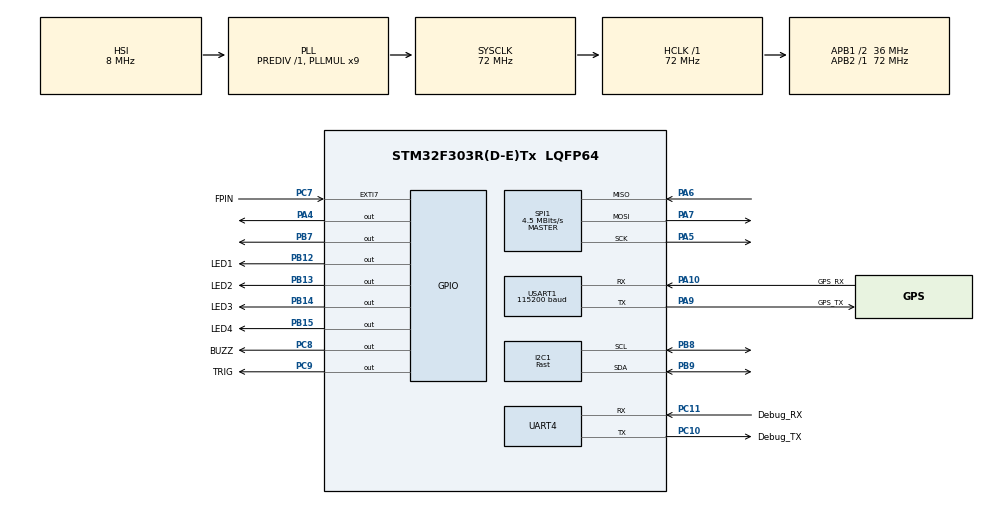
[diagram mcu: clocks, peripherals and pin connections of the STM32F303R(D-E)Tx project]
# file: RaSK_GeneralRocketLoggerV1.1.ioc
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I2C1.I2C_Speed_Mode=I2C_Fast
I2C1.Timing=0x0000020B
Mcu.Family=STM32F3
Mcu.Name=STM32F303R(D-E)Tx
Mcu.Package=LQFP64
NVIC.EXTI9_5_IRQn=true\:0\:0\:false\:false\:true\:true
NVIC.PriorityGroup=NVIC_PRIORITYGROUP_4
NVIC.TIM1_UP_TIM16_IRQn=true\:0\:0\:false\:true\:true\:1\:true
PA10.GPIO_Label=GPS_RX
PA10.Mode=Asynchronous
PA10.Signal=USART1_RX
PA4.Signal=GPIO_Output
PA5.Mode=Full_Duplex_Master
PA5.Signal=SPI1_SCK
PA6.Mode=Full_Duplex_Master
PA6.Signal=SPI1_MISO
PA7.Mode=Full_Duplex_Master
PA7.Signal=SPI1_MOSI
PA9.GPIO_Label=GPS_TX
PA9.Mode=Asynchronous
PA9.Signal=USART1_TX
PB12.GPIO_Label=LED1
PB12.Signal=GPIO_Output
PB13.GPIO_Label=LED2
PB13.Signal=GPIO_Output
PB14.GPIO_Label=LED3
PB14.Signal=GPIO_Output
PB15.GPIO_Label=LED4
PB15.Signal=GPIO_Output
PB3.Signal=USART2_TX
PB4.Signal=USART2_RX
PB7.Signal=GPIO_Output
PB8.Mode=I2C
PB8.Signal=I2C1_SCL
PB9.Mode=I2C
PB9.Signal=I2C1_SDA
PC10.GPIO_Label=Debug_TX
PC10.Mode=Asynchronous
PC10.Signal=UART4_TX
PC11.GPIO_Label=Debug_RX
PC11.Mode=Asynchronous
PC11.Signal=UART4_RX
PC7.GPIO_Label=FPIN
PC7.Signal=GPXTI7
PC8.GPIO_Label=BUZZ
PC8.Signal=GPIO_Output
PC9.GPIO_Label=TRIG
PC9.Signal=GPIO_Output
ProjectManager.HeapSize=0x200
ProjectManager.StackSize=0x400
ProjectManager.TargetToolchain=TrueSTUDIO
RCC.AHBFreq_Value=72000000
RCC.APB1CLKDivider=RCC_HCLK_DIV2
RCC.APB1Freq_Value=36000000
RCC.APB1TimFreq_Value=72000000
RCC.APB2Freq_Value=72000000
RCC.APB2TimFreq_Value=72000000
RCC.CortexFreq_Value=72000000
RCC.HCLKFreq_Value=72000000
RCC.HSE_VALUE=8000000
RCC.HSI_VALUE=8000000
RCC.LSE_Timout=1000
RCC.LSE_VALUE=32768
RCC.PLLMUL=RCC_PLL_MUL9
RCC.SYSCLKFreq_VALUE=72000000
RCC.SYSCLKSourceVirtual=RCC_SYSCLKSOURCE_PLLCLK
RCC.USBFreq_Value=72000000
SPI1.BaudRatePrescaler=SPI_BAUDRATEPRESCALER_16
SPI1.CalculateBaudRate=4.5 MBits/s
SPI1.Direction=SPI_DIRECTION_2LINES
SPI1.Mode=SPI_MODE_MASTER
SPI1.VirtualType=VM_MASTER
TIM16.Channel=TIM_CHANNEL_1
TIM16.OCMode_1=TIM_OCMODE_ACTIVE
TIM16.Period=1999
TIM16.Prescaler=35999
TIM16.Pulse=1999
TIM2.Period=4294967295
TIM2.Prescaler=71
TIM3.Period=19999
TIM3.Prescaler=72
USART1.BaudRate=115200
USART1.VirtualMode-Asynchronous=VM_ASYNC
USART1.WordLength=WORDLENGTH_8B
VP_FATFS_VS_Generic.Mode=User_defined
VP_RTC_VS_RTC_Activate.Mode=RTC_Enabled
VP_RTC_VS_RTC_Calendar.Mode=RTC_Calendar
VP_TIM16_VS_ClockSourceINT.Mode=Enable_Timer
VP_TIM16_VS_OPM.Mode=OPM_bit
VP_TIM16_VS_no_output1.Mode=Output Compare1 No Output
VP_TIM2_VS_ClockSourceINT.Mode=Internal
VP_TIM3_VS_ClockSourceINT.Mode=Internal
board=RaSK_GeneralRocketLoggerV1.1

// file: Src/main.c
/**
  ******************************************************************************
  * @file           : main.c
  * @brief          : Main program body
  ******************************************************************************
  * This notice applies to any and all portions of this file
  * that are not between comment pairs USER CODE BEGIN and
  * USER CODE END. Other portions of this file, whether
  * inserted by the user or by software development tools
  * are owned by their respective copyright owners.
  *
  * Copyright (c) 2018 STMicroelectronics International N.V.
  * All rights reserved.
  *
  * Redistribution and use in source and binary forms, with or without
  * modification, are permitted, provided that the following conditions are met:
  *
  * 1. Redistribution of source code must retain the above copyright notice,
  *    this list of conditions and the following disclaimer.
  * 2. Redistributions in binary form must reproduce the above copyright notice,
  *    this list of conditions and the following disclaimer in the documentation
  *    and/or other materials provided with the distribution.
  * 3. Neither the name of STMicroelectronics nor the names of other
  *    contributors to this software may be used to endorse or promote products
  *    derived from this software without specific written permission.
  * 4. This software, including modifications and/or derivative works of this
  *    software, must execute solely and exclusively on microcontroller or
  *    microprocessor devices manufactured by or for STMicroelectronics.
  * 5. Redistribution and use of this software other than as permitted under
  *    this license is void and will automatically terminate your rights under
  *    this license.
  *
  * THIS SOFTWARE IS PROVIDED BY STMICROELECTRONICS AND CONTRIBUTORS "AS IS"
  * AND ANY EXPRESS, IMPLIED OR STATUTORY WARRANTIES, INCLUDING, BUT NOT
  * LIMITED TO, THE IMPLIED WARRANTIES OF MERCHANTABILITY, FITNESS FOR A
  * PARTICULAR PURPOSE AND NON-INFRINGEMENT OF THIRD PARTY INTELLECTUAL PROPERTY
  * RIGHTS ARE DISCLAIMED TO THE FULLEST EXTENT PERMITTED BY LAW. IN NO EVENT
  * SHALL STMICROELECTRONICS OR CONTRIBUTORS BE LIABLE FOR ANY DIRECT, INDIRECT,
  * INCIDENTAL, SPECIAL, EXEMPLARY, OR CONSEQUENTIAL DAMAGES (INCLUDING, BUT NOT
  * LIMITED TO, PROCUREMENT OF SUBSTITUTE GOODS OR SERVICES; LOSS OF USE, DATA,
  * OR PROFITS; OR BUSINESS INTERRUPTION) HOWEVER CAUSED AND ON ANY THEORY OF
  * LIABILITY, WHETHER IN CONTRACT, STRICT LIABILITY, OR TORT (INCLUDING
  * NEGLIGENCE OR OTHERWISE) ARISING IN ANY WAY OUT OF THE USE OF THIS SOFTWARE,
  * EVEN IF ADVISED OF THE POSSIBILITY OF SUCH DAMAGE.
  *
  ******************************************************************************
  */
#include "main.h"
#include "stm32f3xx_hal.h"
#include "fatfs.h"

/* USER CODE BEGIN Includes */

#include <stdlib.h>
#include "leastsquare.h"
#include "../uart_wrapper/uart_wrapper.h"

#include "LPS22HB.h"
#include "../MPU9250/MPU9250.h"

/* USER CODE END Includes */

I2C_HandleTypeDef hi2c1;

RTC_HandleTypeDef hrtc;

SPI_HandleTypeDef hspi1;

TIM_HandleTypeDef htim2;
TIM_HandleTypeDef htim3;
TIM_HandleTypeDef htim16;

UART_HandleTypeDef huart4;
UART_HandleTypeDef huart1;

/* USER CODE BEGIN PV */
/* Private variables ---------------------------------------------------------*/
FATFS SDFatFs;
FIL file;
char SDPath[4];
LPS22HB_t lps22hb;
MPU9250_t mpu9250;
/* USER CODE END PV */

void SystemClock_Config(void);
static void MX_GPIO_Init(void);
static void MX_SPI1_Init(void);
static void MX_USART1_UART_Init(void);
static void MX_UART4_Init(void);
static void MX_I2C1_Init(void);
static void MX_TIM2_Init(void);
static void MX_TIM3_Init(void);
static void MX_TIM16_Init(void);
static void MX_RTC_Init(void);
static void MX_NVIC_Init(void);

/* USER CODE BEGIN PFP */
typedef enum {
	Rocket_NoStatus,
	Rocket_OnGround,
	Rocket_Launched,
	Rocket_Cutoff,
	Rocket_Falling,
	Rocket_Landed
} Rocket_Status_t;

typedef struct {
	Rocket_Status_t status;
	uint8_t d_pos;
	uint32_t d_num;
	uint32_t time[256];
	uint32_t pressraw[256];
	float press[256];
	float accel[256];
	float slope[256];

	//	temporary counter
	int counter;
}  Flight_Info_t;

/* Private function prototypes -----------------------------------------------*/
void Init_LoggerSystem(void);
void Config_OnePulseDelayTime(float delay);
void Config_Logdir(void);
int Check_Bootcount(void);
void Estimate_Status(Flight_Info_t* finfo);
void Trigger_ReleaseSystem(void);

char dir_syslog[20] = "SYSLOG.TXT";
char dir_datlog[20] = "DATLOG.CSV";

Flight_Info_t FlightInfo;

/* USER CODE END PFP */

int main(void)
{
  /* USER CODE BEGIN 1 */
  FIL file;     /* File object */
  char wbuff[256] = {}; /* File write buffer */
  FRESULT fres;
  uint32_t tmeasure_a, tmeasure_b;

#if UART_DEBUG
  char ubuff[256];
#endif

  //initialise_monitor_handles();

  /* USER CODE END 1 */

  /* MCU Configuration----------------------------------------------------------*/

  /* Reset of all peripherals, Initializes the Flash interface and the Systick. */
  HAL_Init();

  /* Configure the system clock */
  SystemClock_Config();

  /* Initialize all configured peripherals */
  MX_GPIO_Init();
  MX_SPI1_Init();
  MX_USART1_UART_Init();
  MX_UART4_Init();
  MX_I2C1_Init();
  MX_FATFS_Init();
  MX_TIM2_Init();
  MX_TIM3_Init();
  MX_TIM16_Init();
  MX_RTC_Init();

  /* Initialize interrupts */
  MX_NVIC_Init();
  /* USER CODE BEGIN 2 */
  Init_LoggerSystem();

  /* USER CODE END 2 */

  /* Infinite loop */
  while (1)
  {

  /* USER CODE BEGIN 3 */
	  HAL_GPIO_WritePin(GPIOB, GPIO_PIN_13, GPIO_PIN_SET);

	  tmeasure_a = TIM2->CNT;

	  fres = open_append(&file, dir_datlog);
	  if ( fres != FR_OK ) {
#if UART_DEBUG
		  xprintf("file open failure!\n");
#endif
		  HAL_Delay(100);
		  continue;
	  }
	  MPU9250_update(&mpu9250, UPDATE_ACCEL | UPDATE_GYRO | UPDATE_COMPASS);
	  LPS22HB_GetData(&lps22hb);
	  FlightInfo.time[FlightInfo.d_pos] = TIM2->CNT;
	  FlightInfo.press[FlightInfo.d_pos] = LPS22HB_Pressure(&lps22hb);
	  FlightInfo.pressraw[FlightInfo.d_pos] = LPS22HB_PressureRaw(&lps22hb);

	  sprintf(wbuff, "%d,%d,%lu,%g,%g,%g,%g,%g,%g,%g,%g,%g,%g,%g",
			  (int)FlightInfo.status,
			  FlightInfo.d_pos,
			  FlightInfo.time[FlightInfo.d_pos],
			  LPS22HB_Pressure(&lps22hb),
			  LPS22HB_Temperature(&lps22hb),
			  MPU9250_calcAccel(&mpu9250,mpu9250.ax),
			  MPU9250_calcAccel(&mpu9250,mpu9250.ay),
			  MPU9250_calcAccel(&mpu9250,mpu9250.az),
			  MPU9250_calcGyro(&mpu9250,mpu9250.gx),
			  MPU9250_calcGyro(&mpu9250,mpu9250.gy),
			  MPU9250_calcGyro(&mpu9250,mpu9250.gz),
			  MPU9250_calcMag(&mpu9250,mpu9250.mx),
			  MPU9250_calcMag(&mpu9250,mpu9250.my),
			  MPU9250_calcMag(&mpu9250,mpu9250.mz)
			  );

	  f_puts((TCHAR *)wbuff, &file);

	  f_close(&file);
	  puts(wbuff);

	  //Estimate_Status(&FlightInfo);

	  HAL_GPIO_WritePin(GPIOB, GPIO_PIN_13, GPIO_PIN_RESET);

	  tmeasure_b = TIM2->CNT;

#if UART_DEBUG
	  //xprintf("[T:%lu] PressRAW = %lu, TempRAW = %d", time, LPS22HB_PressureRaw(&lps22hb), LPS22HB_TemperatureRaw(&lps22hb));

	  sprintf(ubuff, " %d[t:%lu Pt:%lu] P:%f T:%f A:%f\n",
			  FlightInfo.d_pos,
			  FlightInfo.time[FlightInfo.d_pos],
			  tmeasure_b-tmeasure_a,
			  FlightInfo.press[FlightInfo.d_pos],
			  LPS22HB_Temperature(&lps22hb),
			  FlightInfo.accel[FlightInfo.d_pos]
			  );
	 xputs(ubuff);
#endif
	  FlightInfo.d_num++;
	  FlightInfo.d_pos++;

  }
  /* USER CODE END 3 */

}

void SystemClock_Config(void)
{

  RCC_OscInitTypeDef RCC_OscInitStruct;
  RCC_ClkInitTypeDef RCC_ClkInitStruct;
  RCC_PeriphCLKInitTypeDef PeriphClkInit;

    /**Initializes the CPU, AHB and APB busses clocks
    */
  RCC_OscInitStruct.OscillatorType = RCC_OSCILLATORTYPE_HSI|RCC_OSCILLATORTYPE_LSI;
  RCC_OscInitStruct.HSIState = RCC_HSI_ON;
  RCC_OscInitStruct.HSICalibrationValue = 16;
  RCC_OscInitStruct.LSIState = RCC_LSI_ON;
  RCC_OscInitStruct.PLL.PLLState = RCC_PLL_ON;
  RCC_OscInitStruct.PLL.PLLSource = RCC_PLLSOURCE_HSI;
  RCC_OscInitStruct.PLL.PLLMUL = RCC_PLL_MUL9;
  RCC_OscInitStruct.PLL.PREDIV = RCC_PREDIV_DIV1;
  if (HAL_RCC_OscConfig(&RCC_OscInitStruct) != HAL_OK)
  {
    _Error_Handler(__FILE__, __LINE__);
  }

    /**Initializes the CPU, AHB and APB busses clocks
    */
  RCC_ClkInitStruct.ClockType = RCC_CLOCKTYPE_HCLK|RCC_CLOCKTYPE_SYSCLK
                              |RCC_CLOCKTYPE_PCLK1|RCC_CLOCKTYPE_PCLK2;
  RCC_ClkInitStruct.SYSCLKSource = RCC_SYSCLKSOURCE_PLLCLK;
  RCC_ClkInitStruct.AHBCLKDivider = RCC_SYSCLK_DIV1;
  RCC_ClkInitStruct.APB1CLKDivider = RCC_HCLK_DIV2;
  RCC_ClkInitStruct.APB2CLKDivider = RCC_HCLK_DIV1;

  if (HAL_RCC_ClockConfig(&RCC_ClkInitStruct, FLASH_LATENCY_2) != HAL_OK)
  {
    _Error_Handler(__FILE__, __LINE__);
  }

  PeriphClkInit.PeriphClockSelection = RCC_PERIPHCLK_USART1|RCC_PERIPHCLK_UART4
                              |RCC_PERIPHCLK_I2C1|RCC_PERIPHCLK_RTC
                              |RCC_PERIPHCLK_TIM16|RCC_PERIPHCLK_TIM2
                              |RCC_PERIPHCLK_TIM34;
  PeriphClkInit.Usart1ClockSelection = RCC_USART1CLKSOURCE_PCLK2;
  PeriphClkInit.Uart4ClockSelection = RCC_UART4CLKSOURCE_PCLK1;
  PeriphClkInit.I2c1ClockSelection = RCC_I2C1CLKSOURCE_HSI;
  PeriphClkInit.RTCClockSelection = RCC_RTCCLKSOURCE_LSI;
  PeriphClkInit.Tim16ClockSelection = RCC_TIM16CLK_HCLK;
  PeriphClkInit.Tim2ClockSelection = RCC_TIM2CLK_HCLK;
  PeriphClkInit.Tim34ClockSelection = RCC_TIM34CLK_HCLK;
  if (HAL_RCCEx_PeriphCLKConfig(&PeriphClkInit) != HAL_OK)
  {
    _Error_Handler(__FILE__, __LINE__);
  }

    /**Configure the Systick interrupt time
    */
  HAL_SYSTICK_Config(HAL_RCC_GetHCLKFreq()/1000);

    /**Configure the Systick
    */
  HAL_SYSTICK_CLKSourceConfig(SYSTICK_CLKSOURCE_HCLK);

  /* SysTick_IRQn interrupt configuration */
  HAL_NVIC_SetPriority(SysTick_IRQn, 0, 0);
}

/**
  * @brief NVIC Configuration.
  * @retval None
  */
static void MX_NVIC_Init(void)
{
  /* TIM1_UP_TIM16_IRQn interrupt configuration */
  HAL_NVIC_SetPriority(TIM1_UP_TIM16_IRQn, 0, 0);
  HAL_NVIC_EnableIRQ(TIM1_UP_TIM16_IRQn);
}

/* I2C1 init function */
static void MX_I2C1_Init(void)
{

  hi2c1.Instance = I2C1;
  hi2c1.Init.Timing = 0x0000020B;
  hi2c1.Init.OwnAddress1 = 0;
  hi2c1.Init.AddressingMode = I2C_ADDRESSINGMODE_7BIT;
  hi2c1.Init.DualAddressMode = I2C_DUALADDRESS_DISABLE;
  hi2c1.Init.OwnAddress2 = 0;
  hi2c1.Init.OwnAddress2Masks = I2C_OA2_NOMASK;
  hi2c1.Init.GeneralCallMode = I2C_GENERALCALL_DISABLE;
  hi2c1.Init.NoStretchMode = I2C_NOSTRETCH_DISABLE;
  if (HAL_I2C_Init(&hi2c1) != HAL_OK)
  {
    _Error_Handler(__FILE__, __LINE__);
  }

    /**Configure Analogue filter
     *
    */
  if (HAL_I2CEx_ConfigAnalogFilter(&hi2c1, I2C_ANALOGFILTER_ENABLE) != HAL_OK)
  {
    _Error_Handler(__FILE__, __LINE__);
  }

    /**Configure Digital filter
    */
  if (HAL_I2CEx_ConfigDigitalFilter(&hi2c1, 0) != HAL_OK)
  {
    _Error_Handler(__FILE__, __LINE__);
  }

}

/* RTC init function */
static void MX_RTC_Init(void)
{

  RTC_TimeTypeDef sTime;
  RTC_DateTypeDef sDate;

    /**Initialize RTC Only
    */
  hrtc.Instance = RTC;
if(HAL_RTCEx_BKUPRead(&hrtc, RTC_BKP_DR0) != 0x32F2){
  hrtc.Init.HourFormat = RTC_HOURFORMAT_24;
  hrtc.Init.AsynchPrediv = 127;
  hrtc.Init.SynchPrediv = 255;
  hrtc.Init.OutPut = RTC_OUTPUT_DISABLE;
  hrtc.Init.OutPutPolarity = RTC_OUTPUT_POLARITY_HIGH;
  hrtc.Init.OutPutType = RTC_OUTPUT_TYPE_OPENDRAIN;
  if (HAL_RTC_Init(&hrtc) != HAL_OK)
  {
    _Error_Handler(__FILE__, __LINE__);
  }

    /**Initialize RTC and set the Time and Date
    */
  sTime.Hours = 0x0;
  sTime.Minutes = 0x0;
  sTime.Seconds = 0x0;
  sTime.DayLightSaving = RTC_DAYLIGHTSAVING_NONE;
  sTime.StoreOperation = RTC_STOREOPERATION_RESET;
  if (HAL_RTC_SetTime(&hrtc, &sTime, RTC_FORMAT_BCD) != HAL_OK)
  {
    _Error_Handler(__FILE__, __LINE__);
  }

  sDate.WeekDay = RTC_WEEKDAY_MONDAY;
  sDate.Month = RTC_MONTH_JANUARY;
  sDate.Date = 0x1;
  sDate.Year = 0x0;

  if (HAL_RTC_SetDate(&hrtc, &sDate, RTC_FORMAT_BCD) != HAL_OK)
  {
    _Error_Handler(__FILE__, __LINE__);
  }

    HAL_RTCEx_BKUPWrite(&hrtc,RTC_BKP_DR0,0x32F2);
  }

}

/* SPI1 init function */
static void MX_SPI1_Init(void)
{

  /* SPI1 parameter configuration*/
  hspi1.Instance = SPI1;
  hspi1.Init.Mode = SPI_MODE_MASTER;
  hspi1.Init.Direction = SPI_DIRECTION_2LINES;
  hspi1.Init.DataSize = SPI_DATASIZE_4BIT;
  hspi1.Init.CLKPolarity = SPI_POLARITY_LOW;
  hspi1.Init.CLKPhase = SPI_PHASE_1EDGE;
  hspi1.Init.NSS = SPI_NSS_SOFT;
  hspi1.Init.BaudRatePrescaler = SPI_BAUDRATEPRESCALER_16;
  hspi1.Init.FirstBit = SPI_FIRSTBIT_MSB;
  hspi1.Init.TIMode = SPI_TIMODE_DISABLE;
  hspi1.Init.CRCCalculation = SPI_CRCCALCULATION_DISABLE;
  hspi1.Init.CRCPolynomial = 7;
  hspi1.Init.CRCLength = SPI_CRC_LENGTH_DATASIZE;
  hspi1.Init.NSSPMode = SPI_NSS_PULSE_ENABLE;
  if (HAL_SPI_Init(&hspi1) != HAL_OK)
  {
    _Error_Handler(__FILE__, __LINE__);
  }

}

/* TIM2 init function */
static void MX_TIM2_Init(void)
{

  TIM_ClockConfigTypeDef sClockSourceConfig;
  TIM_MasterConfigTypeDef sMasterConfig;

  htim2.Instance = TIM2;
  htim2.Init.Prescaler = 71;
  htim2.Init.CounterMode = TIM_COUNTERMODE_UP;
  htim2.Init.Period = 4294967295;
  htim2.Init.ClockDivision = TIM_CLOCKDIVISION_DIV1;
  htim2.Init.AutoReloadPreload = TIM_AUTORELOAD_PRELOAD_DISABLE;
  if (HAL_TIM_Base_Init(&htim2) != HAL_OK)
  {
    _Error_Handler(__FILE__, __LINE__);
  }

  sClockSourceConfig.ClockSource = TIM_CLOCKSOURCE_INTERNAL;
  if (HAL_TIM_ConfigClockSource(&htim2, &sClockSourceConfig) != HAL_OK)
  {
    _Error_Handler(__FILE__, __LINE__);
  }

  sMasterConfig.MasterOutputTrigger = TIM_TRGO_RESET;
  sMasterConfig.MasterSlaveMode = TIM_MASTERSLAVEMODE_DISABLE;
  if (HAL_TIMEx_MasterConfigSynchronization(&htim2, &sMasterConfig) != HAL_OK)
  {
    _Error_Handler(__FILE__, __LINE__);
  }

}

/* TIM3 init function */
static void MX_TIM3_Init(void)
{

  TIM_ClockConfigTypeDef sClockSourceConfig;
  TIM_MasterConfigTypeDef sMasterConfig;

  htim3.Instance = TIM3;
  htim3.Init.Prescaler = 72;
  htim3.Init.CounterMode = TIM_COUNTERMODE_UP;
  htim3.Init.Period = 19999;
  htim3.Init.ClockDivision = TIM_CLOCKDIVISION_DIV1;
  htim3.Init.AutoReloadPreload = TIM_AUTORELOAD_PRELOAD_DISABLE;
  if (HAL_TIM_Base_Init(&htim3) != HAL_OK)
  {
    _Error_Handler(__FILE__, __LINE__);
  }

  sClockSourceConfig.ClockSource = TIM_CLOCKSOURCE_INTERNAL;
  if (HAL_TIM_ConfigClockSource(&htim3, &sClockSourceConfig) != HAL_OK)
  {
    _Error_Handler(__FILE__, __LINE__);
  }

  sMasterConfig.MasterOutputTrigger = TIM_TRGO_RESET;
  sMasterConfig.MasterSlaveMode = TIM_MASTERSLAVEMODE_DISABLE;
  if (HAL_TIMEx_MasterConfigSynchronization(&htim3, &sMasterConfig) != HAL_OK)
  {
    _Error_Handler(__FILE__, __LINE__);
  }

}

/* TIM16 init function */
static void MX_TIM16_Init(void)
{

  TIM_OC_InitTypeDef sConfigOC;
  TIM_BreakDeadTimeConfigTypeDef sBreakDeadTimeConfig;

  htim16.Instance = TIM16;
  htim16.Init.Prescaler = 35999;
  htim16.Init.CounterMode = TIM_COUNTERMODE_UP;
  htim16.Init.Period = 1999;
  htim16.Init.ClockDivision = TIM_CLOCKDIVISION_DIV1;
  htim16.Init.RepetitionCounter = 0;
  htim16.Init.AutoReloadPreload = TIM_AUTORELOAD_PRELOAD_DISABLE;
  if (HAL_TIM_Base_Init(&htim16) != HAL_OK)
  {
    _Error_Handler(__FILE__, __LINE__);
  }

  if (HAL_TIM_OC_Init(&htim16) != HAL_OK)
  {
    _Error_Handler(__FILE__, __LINE__);
  }

  if (HAL_TIM_OnePulse_Init(&htim16, TIM_OPMODE_SINGLE) != HAL_OK)
  {
    _Error_Handler(__FILE__, __LINE__);
  }

  sConfigOC.OCMode = TIM_OCMODE_ACTIVE;
  sConfigOC.Pulse = 1999;
  sConfigOC.OCPolarity = TIM_OCPOLARITY_HIGH;
  sConfigOC.OCNPolarity = TIM_OCNPOLARITY_HIGH;
  sConfigOC.OCFastMode = TIM_OCFAST_DISABLE;
  sConfigOC.OCIdleState = TIM_OCIDLESTATE_RESET;
  sConfigOC.OCNIdleState = TIM_OCNIDLESTATE_RESET;
  if (HAL_TIM_OC_ConfigChannel(&htim16, &sConfigOC, TIM_CHANNEL_1) != HAL_OK)
  {
    _Error_Handler(__FILE__, __LINE__);
  }

  sBreakDeadTimeConfig.OffStateRunMode = TIM_OSSR_DISABLE;
  sBreakDeadTimeConfig.OffStateIDLEMode = TIM_OSSI_DISABLE;
  sBreakDeadTimeConfig.LockLevel = TIM_LOCKLEVEL_OFF;
  sBreakDeadTimeConfig.DeadTime = 0;
  sBreakDeadTimeConfig.BreakState = TIM_BREAK_DISABLE;
  sBreakDeadTimeConfig.BreakPolarity = TIM_BREAKPOLARITY_HIGH;
  sBreakDeadTimeConfig.BreakFilter = 0;
  sBreakDeadTimeConfig.AutomaticOutput = TIM_AUTOMATICOUTPUT_DISABLE;
  if (HAL_TIMEx_ConfigBreakDeadTime(&htim16, &sBreakDeadTimeConfig) != HAL_OK)
  {
    _Error_Handler(__FILE__, __LINE__);
  }

}

/* UART4 init function */
static void MX_UART4_Init(void)
{

  huart4.Instance = UART4;
  huart4.Init.BaudRate = 115200;
  huart4.Init.WordLength = UART_WORDLENGTH_8B;
  huart4.Init.StopBits = UART_STOPBITS_1;
  huart4.Init.Parity = UART_PARITY_NONE;
  huart4.Init.Mode = UART_MODE_TX_RX;
  huart4.Init.HwFlowCtl = UART_HWCONTROL_NONE;
  huart4.Init.OverSampling = UART_OVERSAMPLING_16;
  huart4.Init.OneBitSampling = UART_ONE_BIT_SAMPLE_DISABLE;
  huart4.AdvancedInit.AdvFeatureInit = UART_ADVFEATURE_NO_INIT;
  if (HAL_UART_Init(&huart4) != HAL_OK)
  {
    _Error_Handler(__FILE__, __LINE__);
  }

}

/* USART1 init function */
static void MX_USART1_UART_Init(void)
{

  huart1.Instance = USART1;
  huart1.Init.BaudRate = 115200;
  huart1.Init.WordLength = UART_WORDLENGTH_8B;
  huart1.Init.StopBits = UART_STOPBITS_1;
  huart1.Init.Parity = UART_PARITY_NONE;
  huart1.Init.Mode = UART_MODE_TX_RX;
  huart1.Init.HwFlowCtl = UART_HWCONTROL_NONE;
  huart1.Init.OverSampling = UART_OVERSAMPLING_16;
  huart1.Init.OneBitSampling = UART_ONE_BIT_SAMPLE_DISABLE;
  huart1.AdvancedInit.AdvFeatureInit = UART_ADVFEATURE_NO_INIT;
  if (HAL_UART_Init(&huart1) != HAL_OK)
  {
    _Error_Handler(__FILE__, __LINE__);
  }

}

/** Configure pins as
        * Analog
        * Input
        * Output
        * EVENT_OUT
        * EXTI
     PB3   ------> USART2_TX
     PB4   ------> USART2_RX
*/
static void MX_GPIO_Init(void)
{

  GPIO_InitTypeDef GPIO_InitStruct;

  /* GPIO Ports Clock Enable */
  __HAL_RCC_GPIOA_CLK_ENABLE();
  __HAL_RCC_GPIOB_CLK_ENABLE();
  __HAL_RCC_GPIOC_CLK_ENABLE();

  /*Configure GPIO pin Output Level */
  HAL_GPIO_WritePin(GPIOA, GPIO_PIN_4, GPIO_PIN_RESET);

  /*Configure GPIO pin Output Level */
  HAL_GPIO_WritePin(GPIOB, LED1_Pin|LED2_Pin|LED3_Pin|LED4_Pin
                          |GPIO_PIN_7, GPIO_PIN_RESET);

  /*Configure GPIO pin Output Level */
  HAL_GPIO_WritePin(GPIOC, BUZZ_Pin|TRIG_Pin, GPIO_PIN_RESET);

  /*Configure GPIO pin : PA4 */
  GPIO_InitStruct.Pin = GPIO_PIN_4;
  GPIO_InitStruct.Mode = GPIO_MODE_OUTPUT_PP;
  GPIO_InitStruct.Pull = GPIO_NOPULL;
  GPIO_InitStruct.Speed = GPIO_SPEED_FREQ_LOW;
  HAL_GPIO_Init(GPIOA, &GPIO_InitStruct);

  /*Configure GPIO pins : LED1_Pin LED2_Pin LED3_Pin LED4_Pin
                           PB7 */
  GPIO_InitStruct.Pin = LED1_Pin|LED2_Pin|LED3_Pin|LED4_Pin
                          |GPIO_PIN_7;
  GPIO_InitStruct.Mode = GPIO_MODE_OUTPUT_PP;
  GPIO_InitStruct.Pull = GPIO_NOPULL;
  GPIO_InitStruct.Speed = GPIO_SPEED_FREQ_LOW;
  HAL_GPIO_Init(GPIOB, &GPIO_InitStruct);

  /*Configure GPIO pin : FPIN_Pin */
  GPIO_InitStruct.Pin = FPIN_Pin;
  GPIO_InitStruct.Mode = GPIO_MODE_IT_RISING;
  GPIO_InitStruct.Pull = GPIO_NOPULL;
  HAL_GPIO_Init(FPIN_GPIO_Port, &GPIO_InitStruct);

  /*Configure GPIO pins : BUZZ_Pin TRIG_Pin */
  GPIO_InitStruct.Pin = BUZZ_Pin|TRIG_Pin;
  GPIO_InitStruct.Mode = GPIO_MODE_OUTPUT_PP;
  GPIO_InitStruct.Pull = GPIO_NOPULL;
  GPIO_InitStruct.Speed = GPIO_SPEED_FREQ_LOW;
  HAL_GPIO_Init(GPIOC, &GPIO_InitStruct);

  /*Configure GPIO pins : PB3 PB4 */
  GPIO_InitStruct.Pin = GPIO_PIN_3|GPIO_PIN_4;
  GPIO_InitStruct.Mode = GPIO_MODE_AF_PP;
  GPIO_InitStruct.Pull = GPIO_NOPULL;
  GPIO_InitStruct.Speed = GPIO_SPEED_FREQ_HIGH;
  GPIO_InitStruct.Alternate = GPIO_AF7_USART2;
  HAL_GPIO_Init(GPIOB, &GPIO_InitStruct);

  /* EXTI interrupt init*/
  HAL_NVIC_SetPriority(EXTI9_5_IRQn, 0, 0);
  HAL_NVIC_EnableIRQ(EXTI9_5_IRQn);

}

/* USER CODE BEGIN 4 */

/**
 * 	System initialization
 */
void Init_LoggerSystem(void)
{
	LPS22HB_Result_t lpsres;
	int mpures;

	/**
	 * 	TImer Start
	 */
	HAL_TIM_Base_Start(&htim2);

	Config_OnePulseDelayTime(TRIG_TIME);

	/**
	 *	File directory configuration
	 */
	Config_Logdir();

	FlightInfo.d_pos = 0;
	FlightInfo.d_num = 0;

	/**
	 * LPS22HB initialization
	 */
	LPS22HB_GetHandle(&lps22hb, &hi2c1);
	LPS22HB_SetAddress(&lps22hb, LPS22HB_Address_L);

	lpsres = LPS22HB_Init(&lps22hb, LPS22HB_ODR_75HZ);
#if UART_DEBUG
	xprintf("[lps22hb] status %d\n",  (int)lpsres );
#endif
	lpsres = LPS22HB_SetLPF(&lps22hb, LPS22HB_LPF_BW9);
#if UART_DEBUG
	xprintf("[lps22hb] set lpf bw9 (stat:%d)\n",  (int)lpsres );
#endif

	MPU9250_GetHandle(&mpu9250, &hi2c1);
	MPU9250_SetAddress(&mpu9250, MPU9250_Address_H);

	mpures = MPU9250_begin(&mpu9250);
#if UART_DEBUG
	xprintf("[mpu9250] status 0x%x\n",  mpures );
#endif
	MPU9250_setSensors(&mpu9250, INV_XYZ_GYRO | INV_XYZ_ACCEL | INV_XYZ_COMPASS); // Enable all sensors
	MPU9250_setGyroFSR(&mpu9250, 2000); // Set gyro to 2000 dps
	MPU9250_setAccelFSR(&mpu9250, 16); // Set accel to +/-16g
	  // Note: the MPU-9250's magnetometer FSR is set at
	  // +/- 4912 uT (micro-tesla's)
	MPU9250_setLPF(&mpu9250, 98); // Set LPF corner frequency to 5Hz
	MPU9250_setSampleRate(&mpu9250, 100); // Set sample rate to 10Hz
	MPU9250_setCompassSampleRate(&mpu9250, 100); // Set mag rate to 100Hz
}

void Config_OnePulseDelayTime(float delay)
{
	TIM_OC_InitTypeDef sConfigOC_TIM16;
	uint16_t timeout;

	timeout = delay * SystemCoreClock / (float)(htim16.Init.Prescaler + 1) ;

	htim16.Init.Period = timeout;

	HAL_TIM_Base_Init(&htim16);

	sConfigOC_TIM16.OCMode = TIM_OCMODE_ACTIVE;
	sConfigOC_TIM16.Pulse = timeout;
	sConfigOC_TIM16.OCPolarity = TIM_OCPOLARITY_HIGH;
	sConfigOC_TIM16.OCNPolarity = TIM_OCNPOLARITY_HIGH;
	sConfigOC_TIM16.OCFastMode = TIM_OCFAST_DISABLE;
	sConfigOC_TIM16.OCIdleState = TIM_OCIDLESTATE_RESET;
	sConfigOC_TIM16.OCNIdleState = TIM_OCNIDLESTATE_RESET;

	HAL_TIM_OC_ConfigChannel(&htim16, &sConfigOC_TIM16,TIM_CHANNEL_1);

	HAL_TIM_OnePulse_Start_IT(&htim16, TIM_CHANNEL_1);
}

/**
 *  Log file directory configuration
 */
void Config_Logdir(void)
{
	int bootcount;
	char logdir[8];

	bootcount = Check_Bootcount();
	if ( bootcount < 0 ) {
		xprintf("bootcount check failure!\n");

		sprintf(logdir, "LOG");
		xprintf("log directory was set to \"LOG\" \n");
	} else {
		xprintf("bootcount is %d\n", bootcount);

		sprintf(logdir, "LOG_%03d", bootcount);
		xprintf("log directory was set to \"LOG_%03d\"\n", bootcount);
	}

	f_mkdir(logdir);

	sprintf(dir_syslog, "LOG_%03d/SYSLOG.TXT", bootcount);
	sprintf(dir_datlog, "LOG_%03d/DATLOG.CSV", bootcount);
}

/**
 * 	Check system boot count from config file in sdcard
 */
int Check_Bootcount(void)
{
    FIL filer;
    FIL filew;
    FRESULT res;

    char buff[3] = {};
    int bootcount = 0;

    res = f_open(&filer, "CONFIG/BOOTCNT.TXT", FA_READ );
    if ( FR_OK != res ) {
        res = f_mkdir("CONFIG");
        if ( FR_OK == res ) {
        	res = f_open(&filew, "CONFIG/BOOTCNT.TXT", FA_CREATE_ALWAYS | FA_WRITE );
        	if ( FR_OK != res ) {	//	failed to make file
        		xprintf("filesystem error!\n");

            	return -1;

        	} else {	//	succeed to make file
        		f_printf(&filew, "%d", bootcount);  //  bootcount = 0
        	}
        }
    } else {	//	succeed to open file
        f_gets((TCHAR *)buff, 4	, &filer);
        bootcount = atoi(buff);
        bootcount++;

        f_close(&filer);

        res = f_open(&filew, "CONFIG/BOOTCNT.TXT", FA_CREATE_ALWAYS | FA_WRITE );
    }

    f_printf(&filew, "%d", bootcount);

    f_close(&filew);

    return bootcount;
}

/**
 * 	Estimate rocket status from sensor data calculation
 */
void Estimate_Status(Flight_Info_t* finfo)
{
	FIL fsys;
    char outbuff[256];

    //  Get slope of pressure from latest 0.2[s] data
    //  (1 / 75[Hz]) * 15 = 0.2[s]
    //finfo->slope[finfo->d_pos] = Calc_LeastSquare_Int(finfo->time, finfo->pressraw, finfo->d_pos, 15);

    //  status switcher
    switch(finfo->status) {

    	//	it is status when the program is booted
        case Rocket_NoStatus: {
            //  count up when slope of pressure is less than �}}0.0000005
            if( finfo->slope[finfo->d_pos] <= 0.002048f && finfo->slope[finfo->d_pos] >= -0.002048f )
                finfo->counter++;
            //	or else counter will reset
            else
                finfo->counter = 0;

            // estimate status that static when counter exeeds 60
            if( finfo->counter >= 60 ) {
                //  record system information log
                open_append(&fsys, dir_syslog);
                sprintf(outbuff, "%lu STAT->ONGR %e\n", finfo->time[finfo->d_pos], finfo->slope[finfo->d_pos]);
                f_puts(outbuff, &fsys);
#if UART_DEBUG
                uart_puts(outbuff);
#endif
                f_close(&fsys);

                //  switch status
                finfo->status = Rocket_OnGround;

                finfo->counter = 0;
            }
            break;
        }

        //  rocket is in a state of rest
        case Rocket_OnGround: {
            //
            if( finfo->slope[finfo->d_pos] <= -0.004096 || finfo->accel[finfo->d_pos] > 3.0 ) {
                finfo->counter++;
            } else {
                finfo->counter = 0;
            }

            //
            if( finfo->counter >= 10 ) {
                //	Activate release timer

            	//  record log
            	open_append(&fsys, dir_syslog);
                sprintf(outbuff, "%lu STAT->LNCH %e\n", finfo->time[finfo->d_pos], finfo->slope[finfo->d_pos]);
                f_puts(outbuff, &fsys);
#if UART_DEBUG
                uart_puts(outbuff);
#endif
                f_close(&fsys);

                //  change status
                finfo->status = Rocket_Launched;

                finfo->counter = 0;
            }
            break;
        }

        //  rocket is under acceleration
        case Rocket_Launched: {
            //
            if( calc_leastsquare_floatin(finfo->time, finfo->slope, finfo->d_pos, 15) >= 0.0 || finfo->accel[finfo->d_pos] <= 0.8f ) {

                //  record log
                open_append(&fsys, dir_syslog);
                sprintf(outbuff, "%lu STAT->COFF\n", TIM2->CNT);
                f_puts(outbuff, &fsys);
#if UART_DEBUG
                uart_puts(outbuff);
#endif
				f_close(&fsys);

                //  change status
                finfo->status = Rocket_Cutoff;
            }
            break;
        }

        //  rocket is free falling
        case Rocket_Cutoff: {
        //case Rocket_Launched: {
            if( finfo->slope[finfo->d_pos] > 0.00004096f || finfo->accel[finfo->d_pos] < 0.1f ) {
                //  record log
            	open_append(&fsys, dir_syslog);
                sprintf(outbuff, "%lu STAT->FALL %e\n", finfo->time[finfo->d_pos], finfo->slope[finfo->d_pos]);
                f_puts(outbuff, &fsys);
#if UART_DEBUG
                uart_puts(outbuff);
#endif
                f_close(&fsys);

                //  change status
                finfo->status = Rocket_Falling;

                //open();
            }
            break;
        }

        //
        case Rocket_Falling: {
            if( finfo->slope[finfo->d_pos] <= 0.5f && finfo->slope[finfo->d_pos] >= 0.0f ) {
                //  record log
            	open_append(&fsys, dir_syslog);
                sprintf(outbuff, "%lu STAT->LAND %e\n", finfo->time[finfo->d_pos], finfo->slope[finfo->d_pos]);
                f_puts(outbuff, &fsys);
#if UART_DEBUG
                uart_puts(outbuff);
#endif
                f_close(&fsys);

                // change status
                finfo->status = Rocket_Landed;
            }
            break;
        }

        case Rocket_Landed: {
        	break;
        }
    };
}

/**
 *  Trigger pin interrupt
 *
 *  It will works when positive edge is detected in GPIO pin PC_7
 */
void HAL_GPIO_EXTI_Callback(uint16_t GPIO_Pin)
{
	if( GPIO_Pin == GPIO_PIN_7 ) {
		if( FlightInfo.status <= Rocket_OnGround ) {
			// 	Activate Release Timer
			HAL_TIM_Base_Start_IT(&htim16);

			//	Set the rocket status
			FlightInfo.status = Rocket_Launched;
			FlightInfo.counter = 0;

			HAL_GPIO_WritePin(GPIOC, GPIO_PIN_8, GPIO_PIN_SET);

#if UART_DEBUG
			xprintf("Trigger pin was separated!\n");
			xprintf("Release timer count down start\n");
#endif
		}
	}
}

/**
 * 	One shot timer interrupt (TIM16)
 *
 * 	It works when few seconds after EXTI
 *
 */
void HAL_TIM_OC_DelayElapsedCallback(TIM_HandleTypeDef *htim)
{
	uint32_t time = TIM16->CNT;
	if( htim->Instance == TIM16) {
		if( time != 0) {
			Trigger_ReleaseSystem();
			xprintf("Initiate release system\n");
		}
	}
}

/**
 * 	Send trigger signal for initiate release system
 */
void Trigger_ReleaseSystem(void)
{
#if RELEASE_MODE == 0
	//	output trigger signal
	HAL_GPIO_WritePin(GPIOC, GPIO_PIN_9, GPIO_PIN_SET);
#elif RELEASE_MODE == 1	//	servo
	//	output trigger signal
	HAL_TIM_PWM_Start(&htim3, TIM_CHANNEL_4);
#endif

	//	indicate that trigger signal is active on LED
	HAL_GPIO_WritePin(GPIOB, GPIO_PIN_14, GPIO_PIN_SET);
#if UART_DEBUG
	xprintf("Release system triggered\n");
#endif
}

/**
 * FatFs file open with append mode
 */

/* USER CODE END 4 */

void _Error_Handler(char *file, int line)
{
  while(1)
  {
  }
}

/************************ (C) COPYRIGHT STMicroelectronics *****END OF FILE****/
